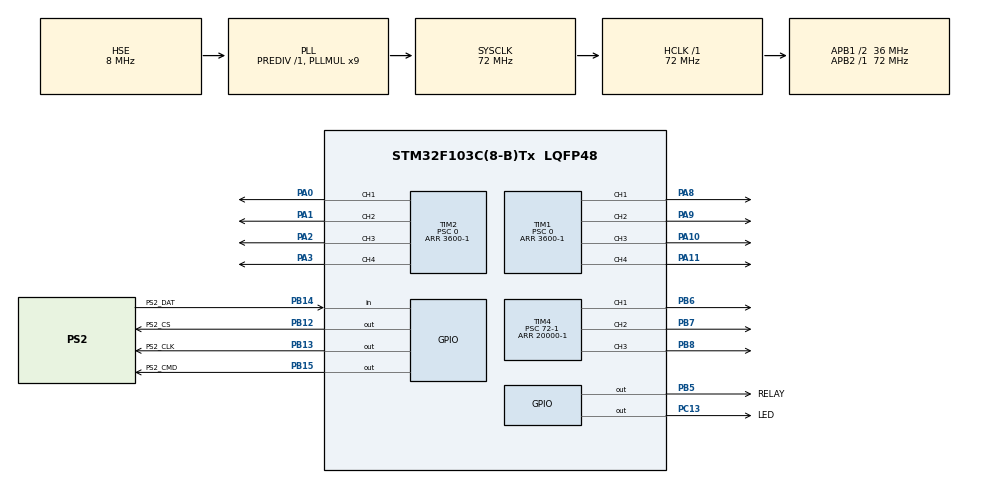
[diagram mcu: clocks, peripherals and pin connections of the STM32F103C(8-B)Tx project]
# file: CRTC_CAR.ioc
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Mcu.Family=STM32F1
Mcu.Name=STM32F103C(8-B)Tx
Mcu.Package=LQFP48
NVIC.PriorityGroup=NVIC_PRIORITYGROUP_4
PA0-WKUP.Signal=S_TIM2_CH1
PA1.Signal=S_TIM2_CH2
PA10.Signal=S_TIM1_CH3
PA11.Signal=S_TIM1_CH4
PA13.Mode=Serial_Wire
PA13.Signal=SYS_JTMS-SWDIO
PA14.Mode=Serial_Wire
PA14.Signal=SYS_JTCK-SWCLK
PA2.Signal=S_TIM2_CH3
PA3.Signal=S_TIM2_CH4
PA8.Signal=S_TIM1_CH1
PA9.Signal=S_TIM1_CH2
PB12.GPIO_Label=PS2_CS
PB12.Signal=GPIO_Output
PB13.GPIO_Label=PS2_CLK
PB13.Signal=GPIO_Output
PB14.GPIO_Label=PS2_DAT
PB14.Signal=GPIO_Input
PB15.GPIO_Label=PS2_CMD
PB15.Signal=GPIO_Output
PB5.GPIO_Label=RELAY
PB5.Signal=GPIO_Output
PB6.Signal=S_TIM4_CH1
PB7.Signal=S_TIM4_CH2
PB8.Signal=S_TIM4_CH3
PC13-ANTI_TAMP.GPIO_Label=LED
PC13-ANTI_TAMP.Signal=GPIO_Output
PD0-OSC_IN.Mode=HSE-External-Oscillator
PD0-OSC_IN.Signal=RCC_OSC_IN
PD1-OSC_OUT.Mode=HSE-External-Oscillator
PD1-OSC_OUT.Signal=RCC_OSC_OUT
ProjectManager.HeapSize=0x200
ProjectManager.StackSize=0x400
ProjectManager.TargetToolchain=STM32CubeIDE
RCC.AHBFreq_Value=72000000
RCC.APB1CLKDivider=RCC_HCLK_DIV2
RCC.APB1Freq_Value=36000000
RCC.APB1TimFreq_Value=72000000
RCC.APB2Freq_Value=72000000
RCC.APB2TimFreq_Value=72000000
RCC.HCLKFreq_Value=72000000
RCC.PLLMUL=RCC_PLL_MUL9
RCC.PLLSourceVirtual=RCC_PLLSOURCE_HSE
RCC.SYSCLKFreq_VALUE=72000000
RCC.SYSCLKSource=RCC_SYSCLKSOURCE_PLLCLK
RCC.USBFreq_Value=72000000
SH.S_TIM1_CH1.0=TIM1_CH1,PWM Generation1 CH1
SH.S_TIM1_CH2.0=TIM1_CH2,PWM Generation2 CH2
SH.S_TIM1_CH3.0=TIM1_CH3,PWM Generation3 CH3
SH.S_TIM1_CH4.0=TIM1_CH4,PWM Generation4 CH4
SH.S_TIM2_CH1.0=TIM2_CH1,PWM Generation1 CH1
SH.S_TIM2_CH2.0=TIM2_CH2,PWM Generation2 CH2
SH.S_TIM2_CH3.0=TIM2_CH3,PWM Generation3 CH3
SH.S_TIM2_CH4.0=TIM2_CH4,PWM Generation4 CH4
SH.S_TIM4_CH1.0=TIM4_CH1,PWM Generation1 CH1
SH.S_TIM4_CH2.0=TIM4_CH2,PWM Generation2 CH2
SH.S_TIM4_CH3.0=TIM4_CH3,PWM Generation3 CH3
TIM1.Channel-PWM\ Generation1\ CH1=TIM_CHANNEL_1
TIM1.Channel-PWM\ Generation2\ CH2=TIM_CHANNEL_2
TIM1.Channel-PWM\ Generation3\ CH3=TIM_CHANNEL_3
TIM1.Channel-PWM\ Generation4\ CH4=TIM_CHANNEL_4
TIM1.Period=3600-1
TIM1.Prescaler=0
TIM2.Channel-PWM\ Generation1\ CH1=TIM_CHANNEL_1
TIM2.Channel-PWM\ Generation2\ CH2=TIM_CHANNEL_2
TIM2.Channel-PWM\ Generation3\ CH3=TIM_CHANNEL_3
TIM2.Channel-PWM\ Generation4\ CH4=TIM_CHANNEL_4
TIM2.Period=3600-1
TIM2.Prescaler=0
TIM4.Channel-PWM\ Generation1\ CH1=TIM_CHANNEL_1
TIM4.Channel-PWM\ Generation2\ CH2=TIM_CHANNEL_2
TIM4.Channel-PWM\ Generation3\ CH3=TIM_CHANNEL_3
TIM4.Period=20000-1
TIM4.Prescaler=72-1
VP_TIM1_VS_ClockSourceINT.Mode=Internal
VP_TIM2_VS_ClockSourceINT.Mode=Internal
VP_TIM4_VS_ClockSourceINT.Mode=Internal
board=custom

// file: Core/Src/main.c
/* USER CODE BEGIN Header */
/**
  ******************************************************************************
  * @file           : main.c
  * @brief          : Main program body
  ******************************************************************************
  * @attention
  *
  * Copyright (c) 2026 STMicroelectronics.
  * All rights reserved.
  *
  * This software is licensed under terms that can be found in the LICENSE file
  * in the root directory of this software component.
  * If no LICENSE file comes with this software, it is provided AS-IS.
  *
  ******************************************************************************
  */
/* USER CODE END Header */
#include "main.h"
#include "tim.h"
#include "gpio.h"

/* USER CODE BEGIN Includes */
#include"ps2.h"
#include"motor.h"
#include"servo.h"
#include"debug_config.h"
/* USER CODE END Includes */

/* USER CODE BEGIN PD */
#define STICK_DEADZONE   12
/* USER CODE END PD */

void SystemClock_Config(void);

/* USER CODE BEGIN 0 */
/* 摇杆线性映射：中位 128，死区 ±12，满偏 → ±1000
 * 实际摇杆不会完全顶到 0 或 255，末端留出余量 */
static int16_t stick_to_speed(uint8_t v)
{
  int16_t x = (int16_t)v - 128;
  if (x > -STICK_DEADZONE && x < STICK_DEADZONE) return 0;
  return (int16_t)(x * 1000 / 128);
}

/* 检查摇杆是否全部回中（用于 START 解锁前的安全条件） */
static uint8_t sticks_centered(const PS2_State_t *s)
{
  return (s->lx > 128 - STICK_DEADZONE && s->lx < 128 + STICK_DEADZONE &&
          s->ly > 128 - STICK_DEADZONE && s->ly < 128 + STICK_DEADZONE &&
          s->rx > 128 - STICK_DEADZONE && s->rx < 128 + STICK_DEADZONE &&
          s->ry > 128 - STICK_DEADZONE && s->ry < 128 + STICK_DEADZONE);
}
/* USER CODE END 0 */

int main(void)
{

  /* MCU Configuration--------------------------------------------------------*/

  /* Reset of all peripherals, Initializes the Flash interface and the Systick. */
  HAL_Init();

  /* Configure the system clock */
  SystemClock_Config();

  /* Initialize all configured peripherals */
  MX_GPIO_Init();
  MX_TIM1_Init();
  MX_TIM2_Init();
  MX_TIM4_Init();
  /* USER CODE BEGIN 2 */
  Motor_Init();
  Servo_Init();
  PS2_Init();

  /* ---- 分模块调试入口 ----
   * 当 debug_config.h 里的 DEBUG_MODE 不是 NORMAL 时，
   * 程序会进入对应的调试函数（它们内部各自是死循环，不会返回）。
   * 想跑正式程序，把 DEBUG_MODE 改回 DEBUG_MODE_NORMAL 即可。 */
#if DEBUG_MODE == DEBUG_MODE_SERVO
  Debug_Servo_Run();
#elif DEBUG_MODE == DEBUG_MODE_MOTOR
  Debug_Motor_Run();
#elif DEBUG_MODE == DEBUG_MODE_PS2
  Debug_PS2_Run();
#endif
  /* USER CODE END 2 */

  /* Infinite loop */
  /* USER CODE BEGIN WHILE */
  PS2_State_t ps2;                        /* 手柄状态：每帧刷新一次 */
  uint16_t last_btn = 0;                  /* 上一帧按键位图，用来做边沿检测 */
  uint8_t  unlocked = 0;                  /* 0=上电锁定  1=已解锁 */
  float ang0 = 90.0f, ang1 = 90.0f, ang2 = 90.0f;
  while (1)
  {
	  if (PS2_Poll(&ps2))                         /* 读到一帧有效数据 */
	  {
		  HAL_GPIO_WritePin(LED_GPIO_Port, LED_Pin, GPIO_PIN_RESET);  /* PC13 低电平点亮：在线 */

		  /* ---- 边沿检测：这一帧“刚按下”的键（避免按住反复触发） ---- */
		  uint16_t pressed = ps2.buttons & (uint16_t)(~last_btn);

		  /* ---- 启动控制：SELECT 随时锁定；
		   * START 仅在「未锁定 + R1 已松开 + 四摇杆全部归中」时才解锁，
		   * 防止手柄放在未收好的位置导致机器人上电即冲出启动区 ---- */
		  if (pressed & PS2_BTN_SELECT)
			  unlocked = 0;                                   /* SELECT：锁定 */
		  if (!unlocked && (pressed & PS2_BTN_START) &&
			  !(ps2.buttons & PS2_BTN_R1) && sticks_centered(&ps2))
		  {
			  unlocked = 1;                                   /* START：安全解锁 */
		  }

		  /* ---- 底盘：按技术文档 5.6/5.7 映射 ----
		   * 左摇杆上下 → 前进 / 后退
		   * 左摇杆左右 → 左右平移
		   * 右摇杆左右 → 原地旋转
		   * R1 按住才行驶，松开立即停车；R2 按住为精细档（三个分量减半） */
		  if (unlocked && (ps2.buttons & PS2_BTN_R1))
		  {
			  int16_t forward = -stick_to_speed(ps2.ly);  /* 左摇杆上下 → 前进/后退 */
			  int16_t strafe  =  stick_to_speed(ps2.lx);  /* 左摇杆左右 → 左右平移 */
			  int16_t rotate  =  stick_to_speed(ps2.rx);  /* 右摇杆左右 → 旋转 */

			  if (ps2.buttons & PS2_BTN_R2)                /* R2 精细档 */
			  {
				  forward /= 2;
				  strafe  /= 2;
				  rotate  /= 2;
			  }
			  Motor_Drive(forward, strafe, rotate);
		  }
		  else
		  {
			  Motor_Drive(0, 0, 0);                       /* 未解锁 / 未按 R1：停车 */
		  }

		  /* ---- 舵机：由摇杆外的按键控制（十字键调 1/2 号，△/□ 调 3 号） ---- */
		  if (ps2.buttons & PS2_BTN_UP)       ang0 += 2.0f;   /* ↑   舵机1 + */
		  if (ps2.buttons & PS2_BTN_DOWN)     ang0 -= 2.0f;   /* ↓   舵机1 - */
		  if (ps2.buttons & PS2_BTN_RIGHT)    ang1 += 2.0f;   /* →   舵机2 + */
		  if (ps2.buttons & PS2_BTN_LEFT)     ang1 -= 2.0f;   /* ←   舵机2 - */
		  if (ps2.buttons & PS2_BTN_TRIANGLE) ang2 += 2.0f;   /* △   舵机3 + */
		  if (ps2.buttons & PS2_BTN_SQUARE)   ang2 -= 2.0f;   /* □   舵机3 - */
		  Servo_SetAngle(SERVO_SG90_1, ang0);
		  Servo_SetAngle(SERVO_SG90_2, ang1);
		  Servo_SetAngle(SERVO_MG995,  ang2);

		  if (pressed & PS2_BTN_CROSS)  HAL_GPIO_TogglePin(RELAY_GPIO_Port, RELAY_Pin); /* ✕ 继电器 */
		  last_btn = ps2.buttons;                     /* 存档，供下一帧做边沿比较 */
	  }
	  else                                          /* 手柄掉线 */
	  {
		  HAL_GPIO_WritePin(LED_GPIO_Port, LED_Pin, GPIO_PIN_SET);    /* 灯灭 */
		  Motor_Drive(0, 0, 0);                         /* 立即停车（安全兜底） */
		  unlocked = 0;                                 /* 掉线后重新上锁，恢复后需再次 START 解锁 */
		  last_btn = 0;
	  }
	  HAL_Delay(15);                                /* 约 60Hz 轮询手柄 */

	  /* USER CODE END WHILE */

  }
}

void SystemClock_Config(void)
{
  RCC_OscInitTypeDef RCC_OscInitStruct = {0};
  RCC_ClkInitTypeDef RCC_ClkInitStruct = {0};

  /** Initializes the RCC Oscillators according to the specified parameters
  * in the RCC_OscInitTypeDef structure.
  */
  RCC_OscInitStruct.OscillatorType = RCC_OSCILLATORTYPE_HSE;
  RCC_OscInitStruct.HSEState = RCC_HSE_ON;
  RCC_OscInitStruct.HSEPredivValue = RCC_HSE_PREDIV_DIV1;
  RCC_OscInitStruct.HSIState = RCC_HSI_ON;
  RCC_OscInitStruct.PLL.PLLState = RCC_PLL_ON;
  RCC_OscInitStruct.PLL.PLLSource = RCC_PLLSOURCE_HSE;
  RCC_OscInitStruct.PLL.PLLMUL = RCC_PLL_MUL9;
  if (HAL_RCC_OscConfig(&RCC_OscInitStruct) != HAL_OK)
  {
    Error_Handler();
  }

  /** Initializes the CPU, AHB and APB buses clocks
  */
  RCC_ClkInitStruct.ClockType = RCC_CLOCKTYPE_HCLK|RCC_CLOCKTYPE_SYSCLK
                              |RCC_CLOCKTYPE_PCLK1|RCC_CLOCKTYPE_PCLK2;
  RCC_ClkInitStruct.SYSCLKSource = RCC_SYSCLKSOURCE_PLLCLK;
  RCC_ClkInitStruct.AHBCLKDivider = RCC_SYSCLK_DIV1;
  RCC_ClkInitStruct.APB1CLKDivider = RCC_HCLK_DIV2;
  RCC_ClkInitStruct.APB2CLKDivider = RCC_HCLK_DIV1;

  if (HAL_RCC_ClockConfig(&RCC_ClkInitStruct, FLASH_LATENCY_2) != HAL_OK)
  {
    Error_Handler();
  }
}

void Error_Handler(void)
{
  __disable_irq();
  while (1)
  {
  }
}
